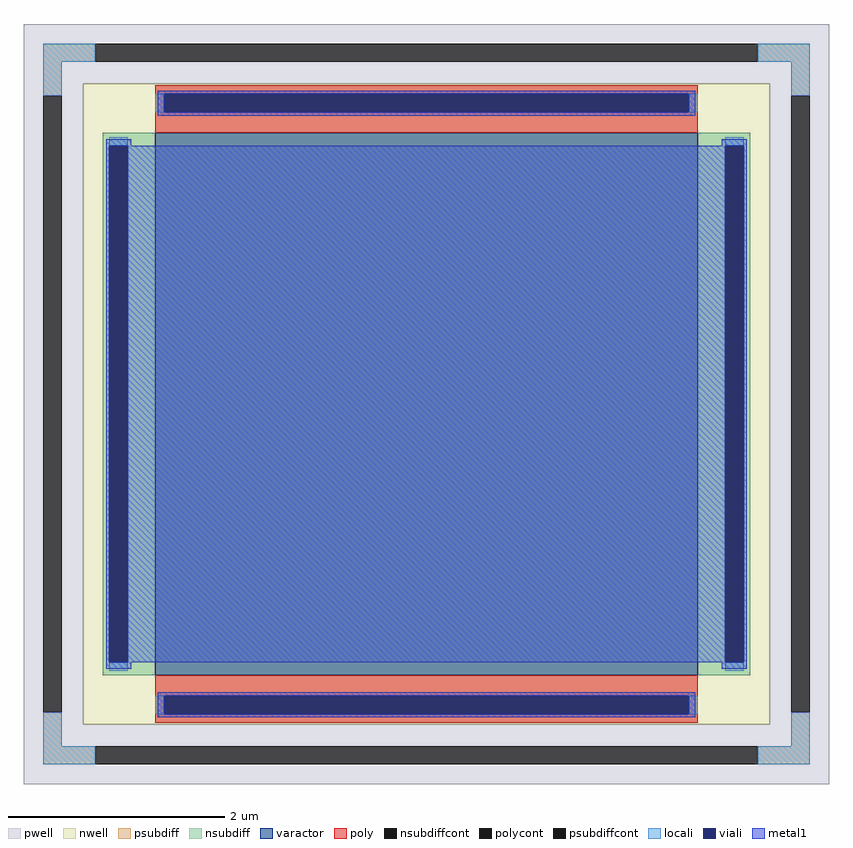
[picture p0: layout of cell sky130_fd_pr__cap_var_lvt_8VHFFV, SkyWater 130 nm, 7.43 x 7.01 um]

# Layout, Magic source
magic
tech sky130A
magscale 1 2
<< nwell >>
rect -633 -591 633 591
<< pwell >>
rect -743 591 743 701
rect -743 -591 -633 591
rect 633 -591 743 591
rect -743 -701 743 -591
<< varactor >>
rect -500 -500 500 500
<< psubdiff >>
rect -707 631 -611 665
rect 611 631 707 665
rect -707 569 -673 631
rect 673 569 707 631
rect -707 -631 -673 -569
rect 673 -631 707 -569
rect -707 -665 -611 -631
rect 611 -665 707 -631
<< nsubdiff >>
rect -597 476 -500 500
rect -597 -476 -585 476
rect -551 -476 -500 476
rect -597 -500 -500 -476
rect 500 476 597 500
rect 500 -476 551 476
rect 585 -476 597 476
rect 500 -500 597 -476
<< psubdiffcont >>
rect -611 631 611 665
rect -707 -569 -673 569
rect 673 -569 707 569
rect -611 -665 611 -631
<< nsubdiffcont >>
rect -585 -476 -551 476
rect 551 -476 585 476
<< poly >>
rect -500 572 500 588
rect -500 538 -484 572
rect 484 538 500 572
rect -500 500 500 538
rect -500 -538 500 -500
rect -500 -572 -484 -538
rect 484 -572 500 -538
rect -500 -588 500 -572
<< polycont >>
rect -484 538 484 572
rect -484 -572 484 -538
<< locali >>
rect -707 631 -611 665
rect 611 631 707 665
rect -707 569 -673 631
rect -500 538 -484 572
rect 484 538 500 572
rect 673 569 707 631
rect -585 476 -551 492
rect -585 -492 -551 -476
rect 551 476 585 492
rect 551 -492 585 -476
rect -707 -631 -673 -569
rect -500 -572 -484 -538
rect 484 -572 500 -538
rect 673 -631 707 -569
rect -707 -665 -611 -631
rect 611 -665 707 -631
<< viali >>
rect -484 538 484 572
rect -585 -476 -551 476
rect 551 -476 585 476
rect -484 -572 484 -538
<< metal1 >>
rect -496 572 496 578
rect -496 538 -484 572
rect 484 538 496 572
rect -496 532 496 538
rect -591 476 -545 488
rect 545 476 591 488
rect -591 -476 -585 476
rect -551 -476 551 476
rect 585 -476 591 476
rect -591 -488 -545 -476
rect 545 -488 591 -476
rect -496 -538 496 -532
rect -496 -572 -484 -538
rect 484 -572 496 -538
rect -496 -578 496 -572
<< properties >>
string FIXED_BBOX -690 -648 690 648
string gencell sky130_fd_pr__cap_var_lvt
string library sky130
string parameters w 5 l 5 m 1 nf 1 diffcov 100 polycov 100 guard 1 glc 1 grc 1 gtc 1 gbc 1 tbcov 100 rlcov 100 topc 1 botc 1 poverlap 0 doverlap 1 lmin 0.18 wmin 1.0 compatible {sky130_fd_pr__cap_var_lvt  sky130_fd_pr__cap_var_hvt sky130_fd_pr__cap_var} full_metal 1 viasrc 100 viadrn 100 viagate 100 viagb 0 viagr 0 viagl 0 viagt 0 gshield 1
<< end >>
